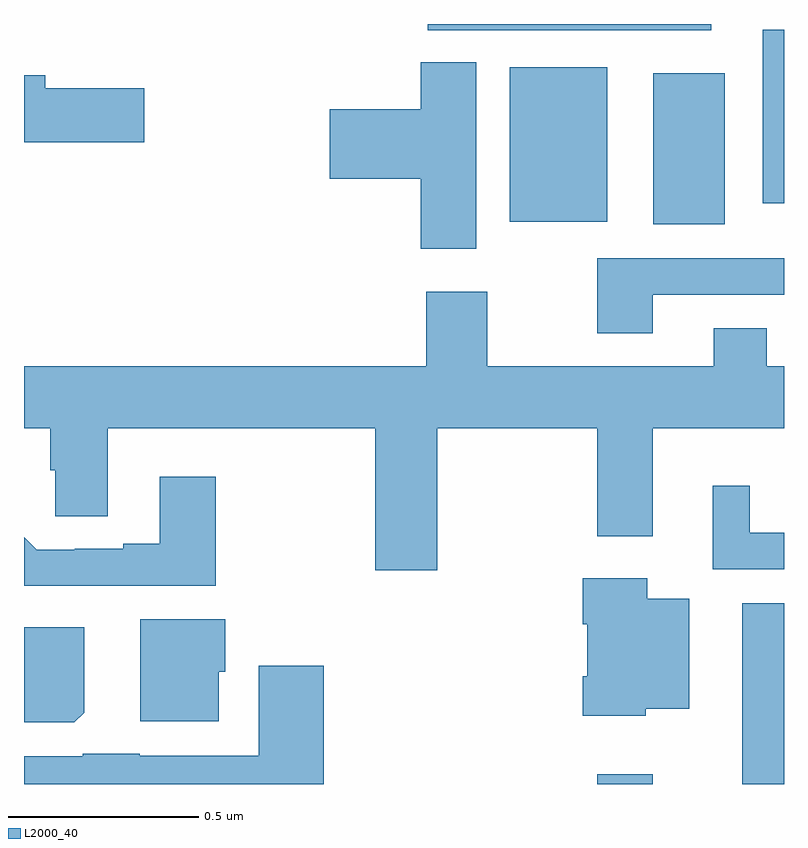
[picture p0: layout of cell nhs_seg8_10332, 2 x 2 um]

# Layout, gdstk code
import gdstk
lib = gdstk.Library(unit=1e-6, precision=1e-09)
def R(c, l, rs):  # rectangles x0, y0, x1, y1
    for r in rs: c.add(gdstk.rectangle(r[:2], r[2:], *l))
def P(c, l, *ps):  # polygons
    for p in ps: c.add(gdstk.Polygon(p, *l))
L2000_40 = (2000, 40)

nhs_seg8_10332 = lib.new_cell('nhs_seg8_10332')
R(nhs_seg8_10332, L2000_40, [(249.508,1112.9,249.655,1112.926), (249.89,1112.9,250,1113.376), (249.656,1114.373,249.844,1114.771), (249.278,1114.379,249.535,1114.786), (249.944,1114.428,250,1114.885), (249.063,1114.884,249.808,1114.9)])
P(nhs_seg8_10332, L2000_40, [(249.19,1114.799),(249.044,1114.799),(249.044,1114.676),(248.805,1114.676),(248.805,1114.493),(249.044,1114.493),(249.044,1114.308),(249.19,1114.308)],
  [(248.317,1114.731),(248.056,1114.731),(248.056,1114.765),(248,1114.765),(248,1114.589),(248.317,1114.589)],
  [(249.655,1114.188),(250,1114.188),(250,1114.284),(249.508,1114.284),(249.508,1114.086),(249.655,1114.086)],
  [(249.088,1113.836),(249.508,1113.836),(249.508,1113.552),(249.655,1113.552),(249.655,1113.836),(250,1113.836),(250,1114),(249.955,1114),(249.955,1114.099),(249.815,1114.099),(249.815,1114),(249.219,1114),(249.219,1114.195),(249.059,1114.195),(249.059,1114),(248,1114),(248,1113.836),(248.069,1113.836),(248.069,1113.726),(248.082,1113.726),(248.082,1113.604),(248.221,1113.604),(248.221,1113.836),(248.924,1113.836),(248.924,1113.462),(249.088,1113.462)],
  [(248.505,1113.709),(248.357,1113.709),(248.357,1113.532),(248.261,1113.532),(248.261,1113.519),(248.134,1113.519),(248.134,1113.516),(248.034,1113.516),(248,1113.55),(248,1113.422),(248.505,1113.422)],
  [(250,1113.561),(249.91,1113.561),(249.91,1113.685),(249.812,1113.685),(249.812,1113.465),(250,1113.465)],
  [(249.636,1113.098),(249.751,1113.098),(249.751,1113.388),(249.64,1113.388),(249.64,1113.442),(249.47,1113.442),(249.47,1113.32),(249.482,1113.32),(249.482,1113.184),(249.47,1113.184),(249.47,1113.08),(249.636,1113.08)],
  [(248.512,1113.195),(248.53,1113.195),(248.53,1113.334),(248.306,1113.334),(248.306,1113.065),(248.512,1113.065)],
  [(248.158,1113.088),(248.158,1113.313),(248,1113.313),(248,1113.062),(248.132,1113.062)],
  [(248.789,1113.211),(248.618,1113.211),(248.618,1112.974),(248.304,1112.974),(248.304,1112.98),(248.154,1112.98),(248.154,1112.973),(248,1112.973),(248,1112.9),(248.789,1112.9)])

lib.write_gds('nhs_seg8_10332.gds')
